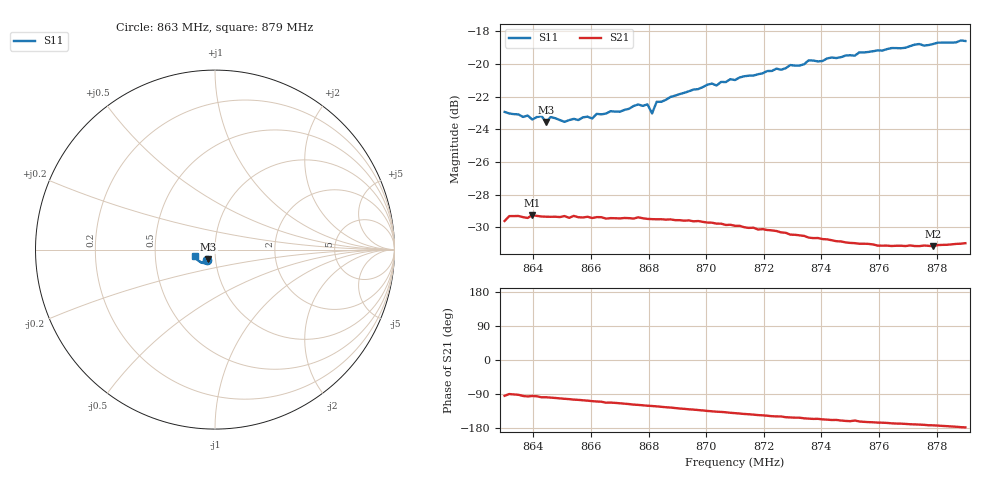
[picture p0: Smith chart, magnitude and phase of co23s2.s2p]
# HZ S RI R 50
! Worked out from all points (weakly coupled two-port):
!   101 points, 863 MHz to 879 MHz, reference 50 ohm
!   highest |S21| = -29.26 dB at 863.96 MHz (marker M1); lowest = -31.2 dB at 877.88 MHz (marker M2)
!   lowest |S11| = -23.6 dB at 864.44 MHz (marker M3), VSWR 1.14, Z = 46.1 - j5.05 ohm
!   |S11| at or under -10 dB: start of sweep to end of sweep
!   S12 and S22 are empty: the file has one direction only
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8.63e8  -0.0443 -0.0559  -0.00257 -0.033  0 0  0 0
8.6316e8  -0.0454 -0.054  8.9e-05 -0.0342  0 0  0 0
8.6396e8  -0.0393 -0.055  -0.00299 -0.0343  0 0  0 0
8.6428e8  -0.04 -0.0565  -0.00501 -0.0338  0 0  0 0
8.6444e8  -0.0378 -0.0546  -0.0049 -0.0337  0 0  0 0
8.646e8  -0.0395 -0.0564  -0.00552 -0.0336  0 0  0 0
8.6508e8  -0.0345 -0.0568  -0.00732 -0.0334  0 0  0 0
8.6572e8  -0.0346 -0.0593  -0.00949 -0.0325  0 0  0 0
8.6604e8  -0.0342 -0.0588  -0.0108 -0.032  0 0  0 0
8.662e8  -0.0354 -0.0608  -0.0113 -0.032  0 0  0 0
8.67e8  -0.0348 -0.0623  -0.0138 -0.0307  0 0  0 0
8.6764e8  -0.0363 -0.0658  -0.0162 -0.0298  0 0  0 0
8.6796e8  -0.0358 -0.0662  -0.0171 -0.0289  0 0  0 0
8.6812e8  -0.0383 -0.0592  -0.0175 -0.0286  0 0  0 0
8.6828e8  -0.0369 -0.0671  -0.0179 -0.0283  0 0  0 0
8.6844e8  -0.0372 -0.067  -0.0185 -0.0279  0 0  0 0
8.7004e8  -0.0454 -0.0735  -0.0229 -0.0234  0 0  0 0
8.71e8  -0.0507 -0.0734  -0.0246 -0.0204  0 0  0 0
8.7372e8  -0.0703 -0.0744  -0.0267 -0.0122  0 0  0 0
8.7644e8  -0.0939 -0.0608  -0.027 -0.00618  0 0  0 0
8.7788e8  -0.1045 -0.0482  -0.0274 -0.00365  0 0  0 0
8.79e8  -0.1114 -0.0376  -0.0282 -0.0011  0 0  0 0
